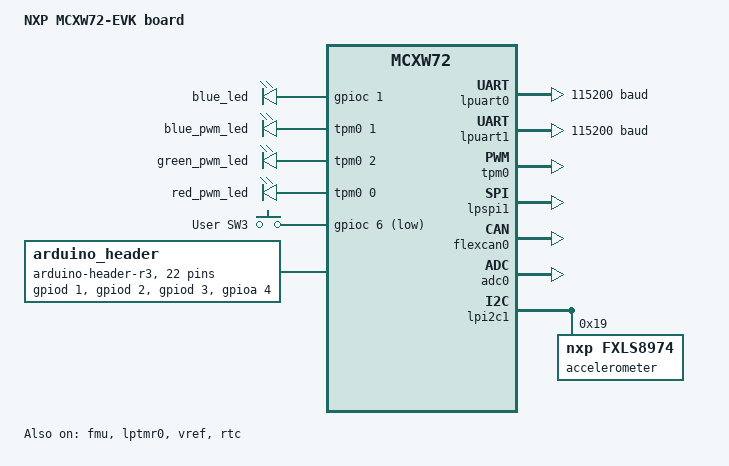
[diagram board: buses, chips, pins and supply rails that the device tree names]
/*
 * Copyright 2024-2025 NXP
 * SPDX-License-Identifier: Apache-2.0
 */

/dts-v1/;

#include <nxp/nxp_mcxw72.dtsi>
#include "mcxw72_evk-pinctrl.dtsi"
#include <zephyr/dt-bindings/gpio/arduino-header-r3.h>
#include <zephyr/dt-bindings/input/input-event-codes.h>

/ {
	model = "NXP MCXW72-EVK board";

	aliases {
		led0 = &blue_led;
		blue-pwm-led = &blue_pwm_led;
		green-pwm-led = &green_pwm_led;
		red-pwm-led = &red_pwm_led;
		sw0 = &user_button_0;
	};

	chosen {
		zephyr,flash = &flash;
		zephyr,flash-controller = &fmu;
		zephyr,code-partition = &code_partition;
		zephyr,sram = &stcm0;
		zephyr,console = &lpuart1;
		zephyr,shell-uart = &lpuart1;
		zephyr,uart-pipe = &lpuart0;
		zephyr,canbus = &flexcan0;
		zephyr,bt-c2h-uart = &lpuart0;
	};

	user_led {
		compatible = "gpio-leds";
		blue_led: led {
			gpios = <&gpioc 1 GPIO_ACTIVE_HIGH>;
		};
	};

	pwmleds {
		compatible = "pwm-leds";
		blue_pwm_led: pwm_led_0 {
			pwms = <&tpm0 1 PWM_MSEC(20) PWM_POLARITY_INVERTED>;
		};
		green_pwm_led: pwm_led_1 {
			pwms = <&tpm0 2 PWM_MSEC(20) PWM_POLARITY_INVERTED>;
		};
		red_pwm_led: pwm_led_2 {
			pwms = <&tpm0 0 PWM_MSEC(20) PWM_POLARITY_INVERTED>;
		};
	};

	gpio_keys {
		compatible = "gpio-keys";
		user_button_0: button_0 {
			label = "User SW3";
			gpios = <&gpioc 6 (GPIO_ACTIVE_LOW | GPIO_PULL_UP)>;
			zephyr,code = <INPUT_KEY_0>;
			status = "okay";
		};
	};

	arduino_header: arduino-connector {
		compatible = "arduino-header-r3";
		#gpio-cells = <2>;
		gpio-map-mask = <0xffffffff 0xffffffc0>;
		gpio-map-pass-thru = <0 0x3f>;
		gpio-map = <ARDUINO_HEADER_R3_A0 0 &gpiod 1 0>,
			   <ARDUINO_HEADER_R3_A1 0 &gpiod 2 0>,
			   <ARDUINO_HEADER_R3_A2 0 &gpiod 3 0>,
			   <ARDUINO_HEADER_R3_A3 0 &gpioa 4 0>,
			   <ARDUINO_HEADER_R3_A4 0 &gpioc 3 0>,
			   <ARDUINO_HEADER_R3_A5 0 &gpioc 2 0>,
			   <ARDUINO_HEADER_R3_D0 0 &gpioa 16 0>,
			   <ARDUINO_HEADER_R3_D1 0 &gpioa 17 0>,
			   <ARDUINO_HEADER_R3_D2 0 &gpioc 4 0>,
			   <ARDUINO_HEADER_R3_D3 0 &gpioc 5 0>,
			   <ARDUINO_HEADER_R3_D4 0 &gpioa 19 0>,
			   <ARDUINO_HEADER_R3_D5 0 &gpioc 1 0>,
			   <ARDUINO_HEADER_R3_D6 0 &gpioa 20 0>,
			   <ARDUINO_HEADER_R3_D7 0 &gpioa 21 0>,
			   <ARDUINO_HEADER_R3_D8 0 &gpioc 4 0>,
			   <ARDUINO_HEADER_R3_D9 0 &gpioa 18 0>,
			   <ARDUINO_HEADER_R3_D10 0 &gpiob 0 0>,
			   <ARDUINO_HEADER_R3_D11 0 &gpiob 3 0>,
			   <ARDUINO_HEADER_R3_D12 0 &gpiob 1 0>,
			   <ARDUINO_HEADER_R3_D13 0 &gpiob 2 0>,
			   <ARDUINO_HEADER_R3_D14 0 &gpiob 4 0>,
			   <ARDUINO_HEADER_R3_D15 0 &gpiob 5 0>;
	};
};

&gpioa {
	status = "okay";
};

&gpiob {
	status = "okay";
};

&gpioc {
	status = "okay";
};

&lpuart0 {
	current-speed = <115200>;
	status =  "okay";
	pinctrl-0 = <&pinmux_lpuart0>;
	pinctrl-names = "default";
};

&lpuart1 {
	current-speed = <115200>;
	status =  "okay";
	pinctrl-0 = <&pinmux_lpuart1>;
	pinctrl-names = "default";
};

&flash {
	partitions {
		compatible = "fixed-partitions";
		#address-cells = <1>;
		#size-cells = <1>;

		code_partition: partition@0 {
			reg = <0x0 DT_SIZE_K(2032)>;
		};

		storage_partition: partition@1FC000 {
			reg = <0x1FC000 DT_SIZE_K(16)>;
		};
	};
};

&fmu {
	status = "okay";
};

&tpm0 {
	status = "okay";
	pinctrl-0 = <&pinmux_tpm0>;
	pinctrl-names = "default";
};

&lptmr0 {
	status = "okay";
};

&lpspi1 {
	status = "okay";
	pinctrl-0 = <&pinmux_lpspi1>;
	pinctrl-names = "default";
};

&flexcan0 {
	status = "okay";
	pinctrl-0 = <&pinmux_flexcan>;
	pinctrl-names = "default";

	can-transceiver {
		max-bitrate = <5000000>;
	};
};

&vref {
	status = "okay";
};

&adc0 {
	pinctrl-0 = <&pinmux_lpadc0>;
	pinctrl-names = "default";
	status = "okay";
};

&lpi2c1 {
	status = "okay";
	pinctrl-0 = <&pinmux_lpi2c1>;
	pinctrl-names = "default";

	accelerometer: accelerometer@19 {
		status = "okay";
		compatible = "nxp,fxls8974";
		reg = <0x19>;
	};
};

&rtc {
	status = "okay";
};
